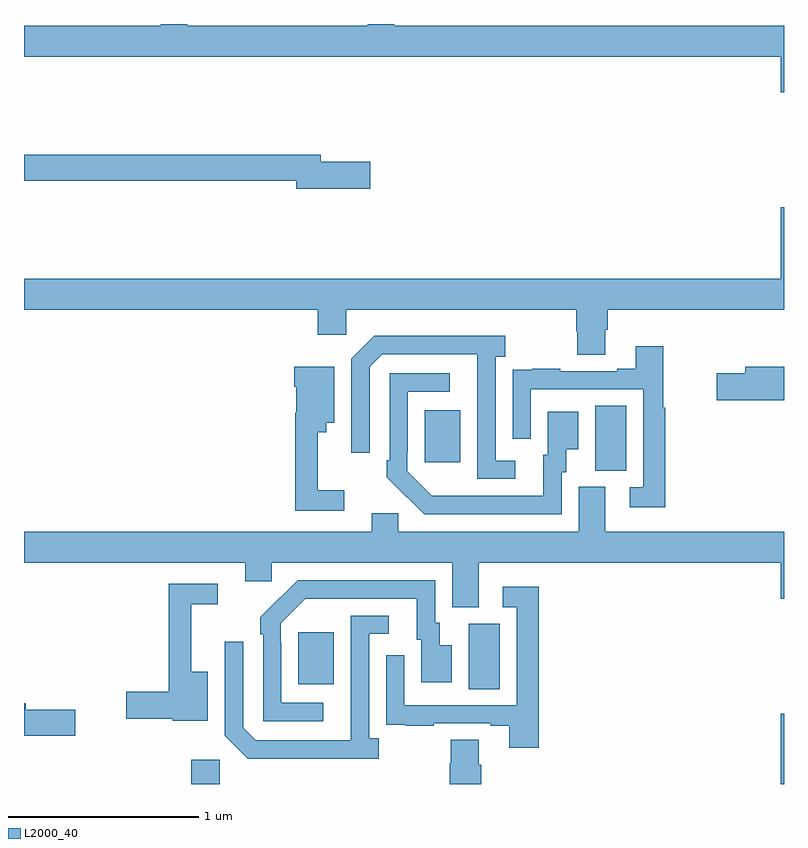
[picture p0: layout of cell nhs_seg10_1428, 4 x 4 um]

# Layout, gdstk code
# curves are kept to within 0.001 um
import gdstk
lib = gdstk.Library(unit=1e-6, precision=1e-09)
def R(c, l, rs):  # rectangles x0, y0, x1, y1
    for r in rs: c.add(gdstk.rectangle(r[:2], r[2:], *l))
def P(c, l, *ps):  # polygons
    for p in ps: c.add(gdstk.Polygon(p, *l))
L2000_40 = (2000, 40)

nhs_seg10_1428 = lib.new_cell('nhs_seg10_1428')
R(nhs_seg10_1428, L2000_40, [(185.879,1284.5,186.03,1284.628), (188.984,1284.5,189,1284.871), (187.34,1285,187.504,1285.344), (186.443,1285.025,186.631,1285.3), (188.006,1286.149,188.17,1286.492), (187.109,1286.193,187.297,1286.467)])
P(nhs_seg10_1428, L2000_40, [(189,1288.492),(186.949,1288.492),(186.949,1288.5),(186.809,1288.5),(186.809,1288.492),(185.859,1288.492),(185.859,1288.5),(185.72,1288.5),(185.72,1288.492),(185,1288.492),(185,1288.328),(188.984,1288.328),(188.984,1288.14),(189,1288.14)],
  [(186.823,1287.776),(186.562,1287.776),(186.562,1287.812),(185,1287.812),(185,1287.676),(186.434,1287.676),(186.434,1287.634),(186.823,1287.634)],
  [(188.059,1286.89),(188.072,1286.89),(188.072,1286.996),(189,1286.996),(189,1287.535),(188.984,1287.535),(188.984,1287.16),(185,1287.16),(185,1286.996),(186.545,1286.996),(186.545,1286.865),(186.696,1286.865),(186.696,1286.996),(187.907,1286.996),(187.907,1286.883),(187.912,1286.883),(187.912,1286.758),(188.059,1286.758)],
  [(187.585,1286.202),(187.482,1286.202),(187.482,1286.75),(187.534,1286.75),(187.534,1286.86),(186.844,1286.86),(186.723,1286.739),(186.723,1286.244),(186.819,1286.244),(186.819,1286.697),(186.885,1286.763),(187.385,1286.763),(187.386,1286.106),(187.585,1286.106)],
  [(188.375,1286.48),(188.364,1286.48),(188.364,1286.803),(188.219,1286.803),(188.219,1286.686),(188.123,1286.686),(188.123,1286.673),(187.823,1286.673),(187.823,1286.686),(187.675,1286.686),(187.675,1286.679),(187.573,1286.679),(187.573,1286.57),(187.572,1286.57),(187.572,1286.316),(187.668,1286.316),(187.668,1286.577),(188.259,1286.577),(188.259,1286.061),(188.187,1286.061),(188.187,1285.956),(188.375,1285.956)],
  [(186.685,1286.047),(186.545,1286.047),(186.545,1286.351),(186.592,1286.351),(186.592,1286.402),(186.634,1286.402),(186.634,1286.695),(186.422,1286.695),(186.422,1286.591),(186.434,1286.591),(186.434,1286.455),(186.427,1286.455),(186.427,1285.938),(186.685,1285.938)],
  [(189,1286.695),(188.795,1286.695),(188.795,1286.661),(188.646,1286.661),(188.646,1286.519),(189,1286.519)],
  [(187.83,1286.142),(187.855,1286.142),(187.855,1286.261),(187.918,1286.261),(187.918,1286.458),(187.757,1286.458),(187.757,1286.232),(187.733,1286.232),(187.733,1286.016),(187.146,1286.017),(187.017,1286.145),(187.017,1286.245),(187.02,1286.245),(187.02,1286.565),(187.24,1286.565),(187.24,1286.661),(186.924,1286.661),(186.924,1286.203),(186.909,1286.203),(186.909,1286.115),(187.106,1285.92),(187.83,1285.92)],
  [(187.393,1285.664),(188.984,1285.664),(188.984,1285.476),(189,1285.476),(189,1285.828),(188.059,1285.828),(188.059,1286.064),(187.919,1286.064),(187.919,1285.828),(186.969,1285.828),(186.969,1285.926),(186.83,1285.926),(186.83,1285.828),(185,1285.828),(185,1285.664),(186.164,1285.664),(186.164,1285.566),(186.303,1285.566),(186.303,1285.664),(187.253,1285.664),(187.253,1285.429),(187.393,1285.429)],
  [(186.574,1284.927),(186.354,1284.927),(186.354,1285.247),(186.351,1285.247),(186.351,1285.347),(186.48,1285.476),(187.067,1285.476),(187.067,1285.26),(187.091,1285.26),(187.091,1285.035),(187.252,1285.035),(187.252,1285.231),(187.189,1285.231),(187.189,1285.35),(187.164,1285.35),(187.164,1285.572),(186.44,1285.572),(186.243,1285.377),(186.243,1285.289),(186.258,1285.289),(186.258,1284.831),(186.574,1284.831)],
  [(185.968,1285.09),(185.879,1285.09),(185.879,1285.446),(186.019,1285.446),(186.019,1285.554),(185.761,1285.554),(185.761,1284.986),(185.538,1284.986),(185.538,1284.844),(185.784,1284.844),(185.784,1284.833),(185.968,1284.833)],
  [(187.709,1285.537),(187.521,1285.537),(187.521,1285.431),(187.593,1285.431),(187.593,1284.915),(187.002,1284.915),(187.002,1285.177),(186.906,1285.177),(186.906,1284.922),(186.907,1284.922),(186.907,1284.813),(187.009,1284.813),(187.009,1284.807),(187.157,1284.807),(187.157,1284.819),(187.457,1284.819),(187.457,1284.807),(187.553,1284.807),(187.553,1284.69),(187.709,1284.69)],
  [(186.868,1284.742),(186.816,1284.742),(186.816,1285.29),(186.919,1285.29),(186.919,1285.386),(186.72,1285.386),(186.719,1284.729),(186.219,1284.729),(186.153,1284.795),(186.153,1285.249),(186.057,1285.249),(186.057,1284.753),(186.178,1284.632),(186.868,1284.632)],
  [(185.269,1284.89),(185.008,1284.89),(185.008,1284.926),(185,1284.926),(185,1284.755),(185.269,1284.755)],
  [(187.406,1284.602),(187.393,1284.602),(187.393,1284.734),(187.246,1284.734),(187.246,1284.609),(187.241,1284.609),(187.241,1284.5),(187.406,1284.5)])

lib.write_gds('nhs_seg10_1428.gds')
